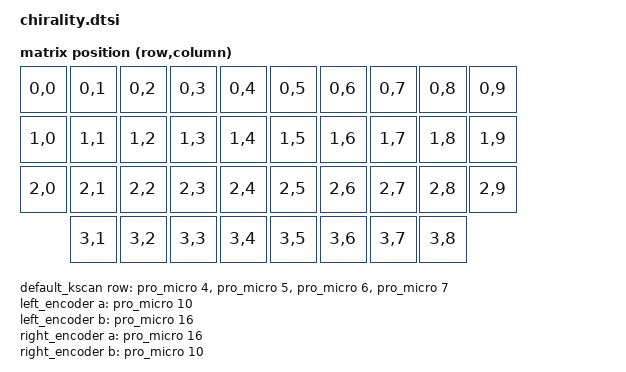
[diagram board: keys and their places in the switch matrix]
#include <dt-bindings/zmk/matrix_transform.h>
#include <dt-bindings/led/led.h>

/ {
  chosen {
    zmk,kscan = &default_kscan;
    zmk,matrix_transform = &default_transform;
    zmk,underglow = &led_strip;
    zmk,display = &nice_view;
    zephyr,display = &nice_view;
  };

  default_kscan: kscan {
    compatible = "zmk,kscan-gpio-matrix";
    label = "default_kscan";
    diode-direction = "col2row";
    wakeup-source;

    row-gpios = <&pro_micro 4 (GPIO_ACTIVE_HIGH | GPIO_PULL_DOWN)>,
                <&pro_micro 5 (GPIO_ACTIVE_HIGH | GPIO_PULL_DOWN)>,
                <&pro_micro 6 (GPIO_ACTIVE_HIGH | GPIO_PULL_DOWN)>,
                <&pro_micro 7 (GPIO_ACTIVE_HIGH | GPIO_PULL_DOWN)>;
  };

  default_transform: matrix_transform {
    compatible = "zmk,matrix-transform";
    rows = <4>;
    columns = <10>;
    
    /* Note: RC(3,2) and RC(3,9) are the buttons of the rotary encoders */
    map = <
      RC(0,0) RC(0,1) RC(0,2) RC(0,3) RC(0,4)  RC(0,5) RC(0,6) RC(0,7) RC(0,8) RC(0,9)
      RC(1,0) RC(1,1) RC(1,2) RC(1,3) RC(1,4)  RC(1,5) RC(1,6) RC(1,7) RC(1,8) RC(1,9)
      RC(2,0) RC(2,1) RC(2,2) RC(2,3) RC(2,4)  RC(2,5) RC(2,6) RC(2,7) RC(2,8) RC(2,9)
              RC(3,1) RC(3,2) RC(3,3) RC(3,4)  RC(3,5) RC(3,6) RC(3,7) RC(3,8)
    >;
  };

  vcc_pins: ext_power {
		compatible = "zmk,ext-power-generic";
		control-gpios = <&gpio0 31 GPIO_ACTIVE_HIGH>;
		init-delay-ms = <50>;
	};

  custom_gpios {
    compatible = "gpio-leds";
    status = "okay";
  };
  
  left_encoder: encoder_left {
    compatible = "alps,ec11";
    a-gpios = <&pro_micro 10 (GPIO_ACTIVE_HIGH | GPIO_PULL_UP)>;
    b-gpios = <&pro_micro 16 (GPIO_ACTIVE_HIGH | GPIO_PULL_UP)>;
    steps = <80>;
    status = "disabled";
  };

  right_encoder: encoder_right {
    compatible = "alps,ec11";
    a-gpios = <&pro_micro 16 (GPIO_ACTIVE_HIGH | GPIO_PULL_UP)>;
    b-gpios = <&pro_micro 10 (GPIO_ACTIVE_HIGH | GPIO_PULL_UP)>;
    steps = <80>;
    status = "disabled";
  };

  sensors: sensors {
    compatible = "zmk,keymap-sensors";
    sensors = <&left_encoder &right_encoder>;
    triggers-per-rotation = <20>;
  };
};

&pro_micro_i2c {
    status = "disabled";
};

&pinctrl {
  /* Nice View Scren. D3 (P0.20) as Clock, D2 (P0.17) as MOSI */
  spi0_default: spi0_default {
    group1 {
      psels = <NRF_PSEL(SPIM_SCK, 0, 20)>,
              <NRF_PSEL(SPIM_MOSI, 0, 17)>;
    };
  };
  spi0_sleep: spi0_sleep {
    group1 {
      psels = <NRF_PSEL(SPIM_SCK, 0, 20)>,
              <NRF_PSEL(SPIM_MOSI, 0, 17)>;
      low-power-enable;
    };
  };
  /* Addressable RGB LEDs. D1 (P0.06) as Data In */
  spi3_default: spi3_default {
    group1 {
      psels = <NRF_PSEL(SPIM_MOSI, 0, 6)>;
    };
  };

  spi3_sleep: spi3_sleep {
    group1 {
      psels = <NRF_PSEL(SPIM_MOSI, 0, 6)>;
      low-power-enable;
    };
  };
};

/* Define the SPI Bus and the Display */
nice_view_spi: &spi0 {
  compatible = "nordic,nrf-spim";
  status = "okay";
  pinctrl-0 = <&spi0_default>;
  pinctrl-1 = <&spi0_sleep>;
  pinctrl-names = "default", "sleep";
  
  cs-gpios = <&pro_micro 0 GPIO_ACTIVE_HIGH>; 

  nice_view: ls0xx@0 {
    compatible = "sharp,ls0xx";
    spi-max-frequency = <1000000>;
    reg = <0>;
    width = <160>;
    height = <68>;
  };
};

/* Define SPI Bus and the WS2812 LED Strip */
&spi3 {
  compatible = "nordic,nrf-spim";
  status = "okay";

  pinctrl-0 = <&spi3_default>;
  pinctrl-1 = <&spi3_sleep>;
  pinctrl-names = "default", "sleep";

  led_strip: ws2812@0 {
    compatible = "worldsemi,ws2812-spi";

    /* SPI */
    reg = <0>; /* ignored, but necessary for SPI bindings */
    spi-max-frequency = <4000000>;

    /* WS2812 */
    chain-length = <18>; /* number of LEDs */
    spi-one-frame = <0x70>;
    spi-zero-frame = <0x40>;
    color-mapping = <LED_COLOR_ID_GREEN
                      LED_COLOR_ID_RED
                      LED_COLOR_ID_BLUE>;
  };
};

&gpio0 {
	/* DO NOT REMOVE: Keeps internal mosfet connecting vdd to vcc on */
	internal_vcc_hog {
		gpio-hog;
		gpios = <13 GPIO_ACTIVE_HIGH>;
		output-high;
		line-name = "internal_vcc_hog";
	};
};
